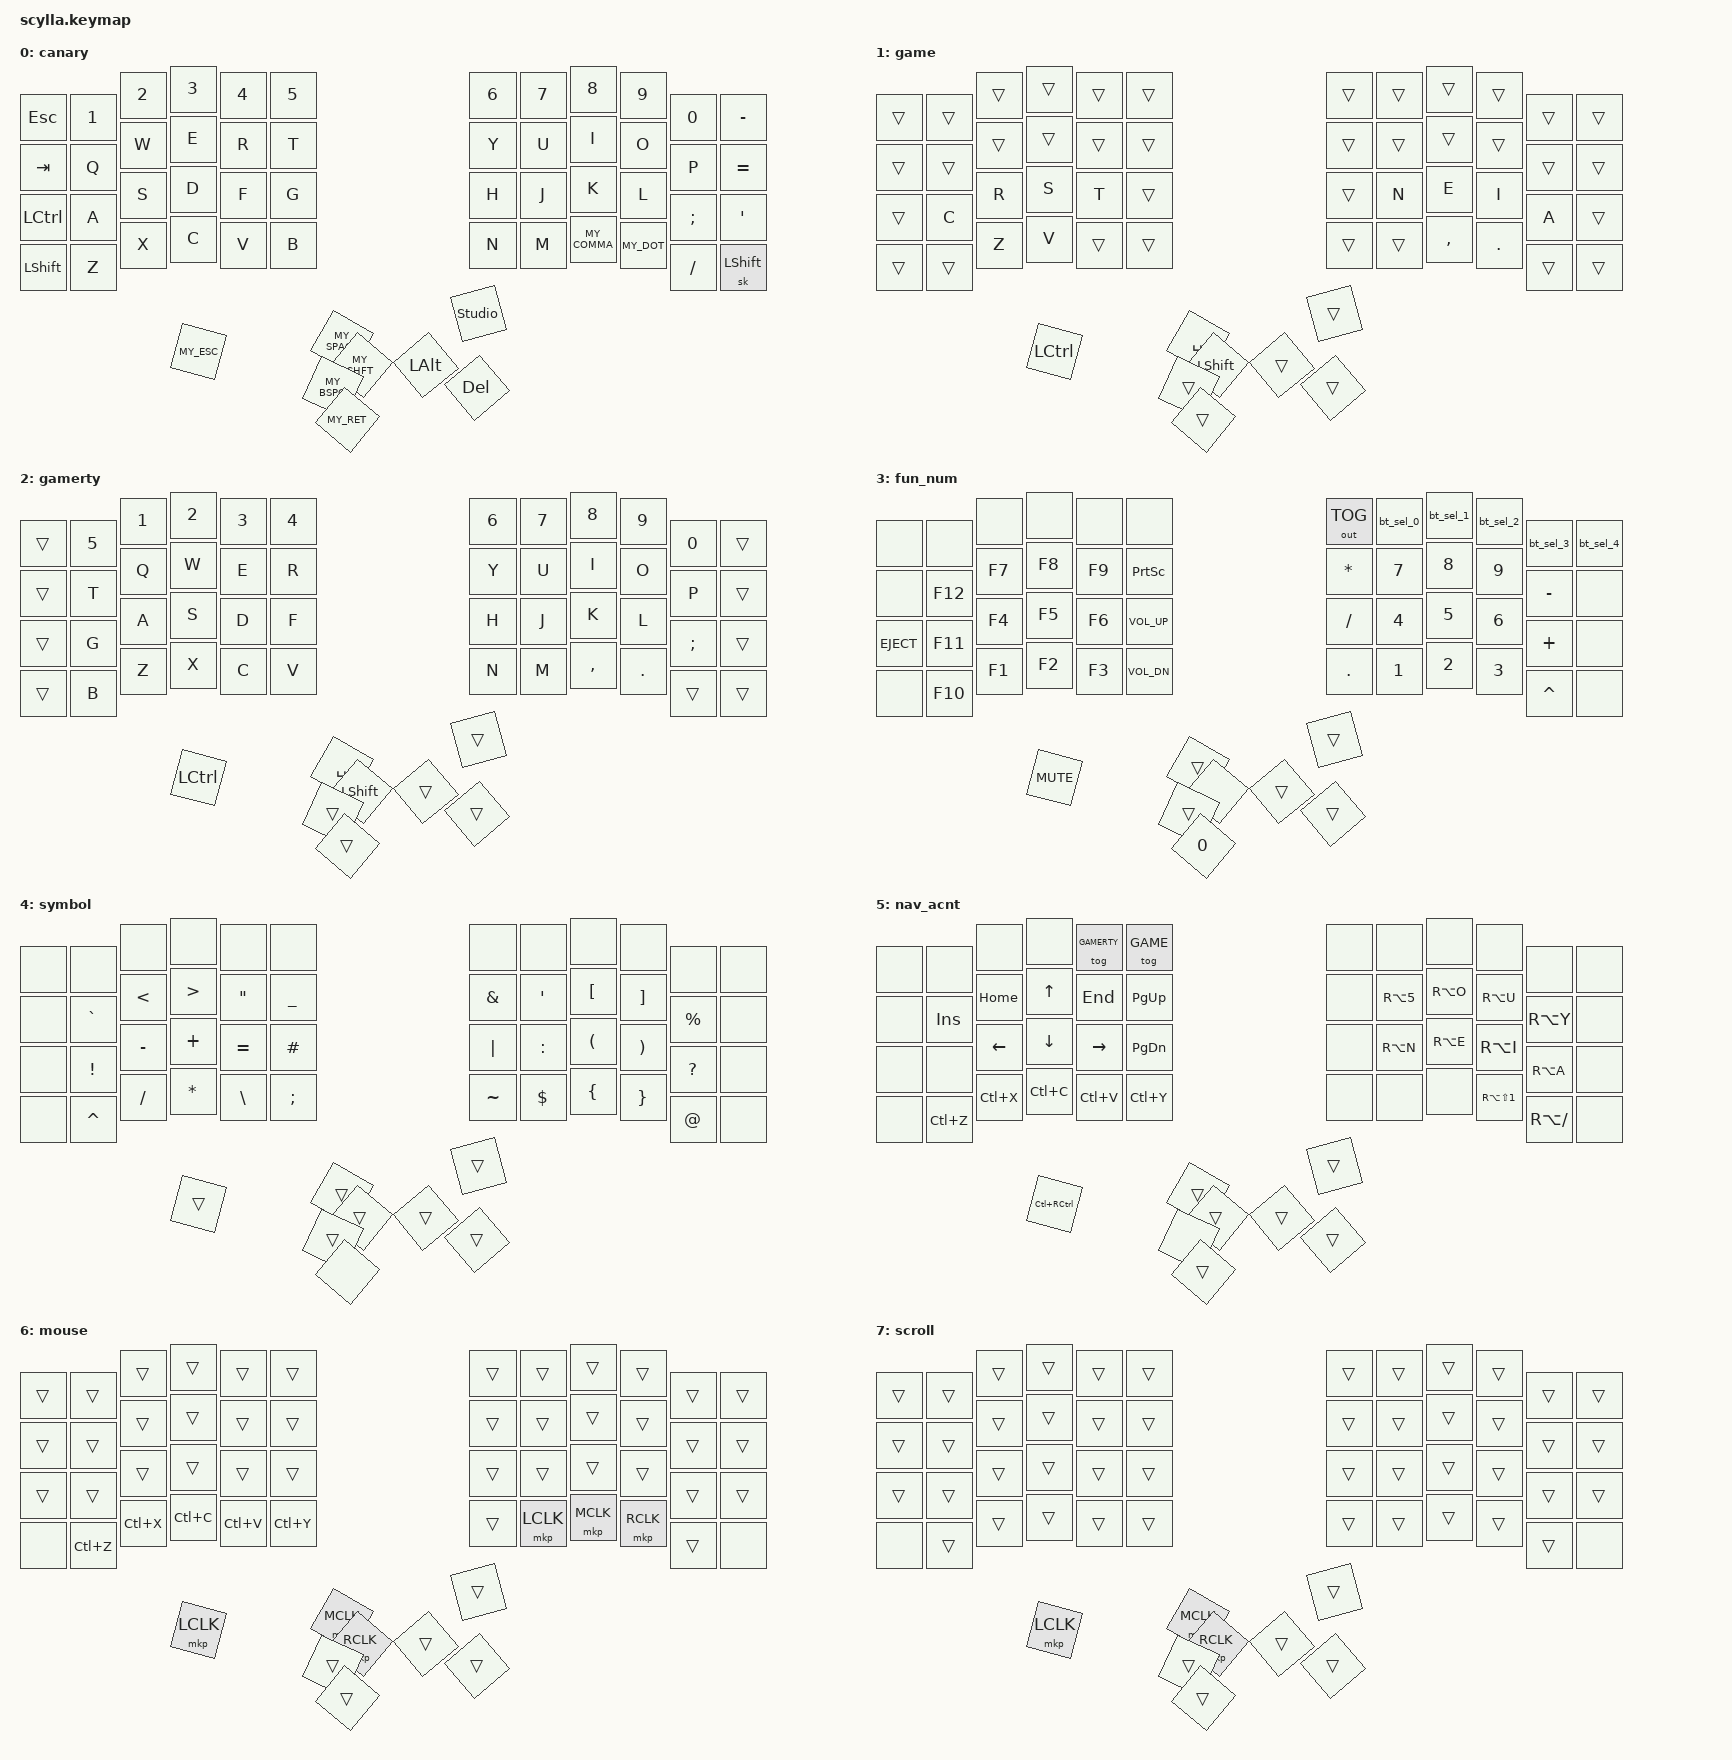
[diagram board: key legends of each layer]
#include "helper.h"
#include <behaviors.dtsi>
#include <behaviors/mouse_key_press.dtsi>
#include <dt-bindings/zmk/keys.h>
#include <dt-bindings/zmk/bt.h>
#include <dt-bindings/zmk/mouse.h>
#include <dt-bindings/zmk/outputs.h>
#include <physical_layouts.dtsi>
#include "layers.h"
#include "keypos.h"

// misc aliases
#define MY_RET        lt_hp NAV_ACNT RET
#define MY_BSPC       lt_hp SYMBOL BSPC
#define MY_ESC        lt_hp SYMBOL ESC
#define MY_SPACE      lt_pi FUN_NUM SPACE
#define MY_SHFT       sk LSHFT
#define MY_COMMA      lt SCROLL COMMA
#define MY_DOT        lt MOUSE DOT
#define MY_C          hml LALT C
#define MY_R          hml LSHFT R
#define MY_S          hml LCTRL S
#define MY_T          hml LGUI T
#define MY_N          hmr RGUI N
#define MY_E          hmr RCTRL E
#define MY_I          hmr RSHFT I
#define MY_A          hmr LALT A
//#define MY_G          lm FUN_NUM LGUI
//#define MY_M          lm NAV_ACNT LGUI
#define MY_G          hlml 0 G
#define MY_M          hlmr 0 M

&sk {  // sticky-key config
    quick-release;
};

&lt {  // layer-tap config
    flavor = "balanced";
    tapping-term-ms = <280>;
    quick-tap-ms = <175>;
};

&mt {  // mod-tap config
    flavor = "balanced";
    tapping-term-ms = <280>;
    quick-tap-ms = <175>;
};

ZMK_BEHAVIOR(hml, hold_tap,
    flavor = "balanced";
    tapping-term-ms = <280>;
    quick-tap-ms = <175>;
    require-prior-idle-ms = <125>;
    bindings = <&kp>, <&kp>;
    hold-trigger-key-positions = <KEYS_R THUMBS>;
    hold-trigger-on-release;
)
ZMK_BEHAVIOR(hmr, hold_tap,
    flavor = "balanced";
    tapping-term-ms = <280>;
    quick-tap-ms = <175>;
    require-prior-idle-ms = <125>;
    bindings = <&kp>, <&kp>;
    hold-trigger-key-positions = <KEYS_L THUMBS>;
    hold-trigger-on-release;
)
ZMK_BEHAVIOR(lt_pi, hold_tap,
    flavor = "balanced";
    tapping-term-ms = <280>;
    quick-tap-ms = <175>;
    require-prior-idle-ms = <125>;
    bindings = <&mo>, <&kp>;
)
ZMK_BEHAVIOR(lt_hp, hold_tap,
    flavor = "hold-preferred";
    tapping-term-ms = <280>;
    quick-tap-ms = <175>;
    bindings = <&mo>, <&kp>;
)

// Custom layer mod
ZMK_BEHAVIOR(lml, macro,
    wait-ms = <0>;
    tap-ms = <0>;
    bindings = <&macro_press &mo FUN_NUM>
        , <&macro_press &kp LGUI>
        , <&macro_pause_for_release>
        , <&macro_release &kp LGUI>
        , <&macro_release &mo FUN_NUM>
        ;
)
ZMK_BEHAVIOR(lmr, macro,
    wait-ms = <0>;
    tap-ms = <0>;
    bindings = <&macro_press &mo NAV_ACNT>
        , <&macro_press &kp RGUI>
        , <&macro_pause_for_release>
        , <&macro_release &kp RGUI>
        , <&macro_release &mo NAV_ACNT>
        ;
)
ZMK_BEHAVIOR(hlml, hold_tap,
    flavor = "balanced";
    tapping-term-ms = <280>;
    quick-tap-ms = <175>;
    require-prior-idle-ms = <125>;
    bindings = <&lml>, <&kp>;
    hold-trigger-key-positions = <KEYS_R THUMBS>;
    hold-trigger-on-release;
)
ZMK_BEHAVIOR(hlmr, hold_tap,
    flavor = "balanced";
    tapping-term-ms = <280>;
    quick-tap-ms = <175>;
    require-prior-idle-ms = <125>;
    bindings = <&lmr>, <&kp>;
    hold-trigger-key-positions = <KEYS_L THUMBS>;
    hold-trigger-on-release;
)

ZMK_COMBO(combo_bspc,     &kp BSPC,          RH0 RU0, ALL,  75)
ZMK_COMBO(combo_capsword, &caps_word,        LF2 RF2,   0,  75)
ZMK_COMBO(combo_caps,     &kp CAPSLOCK,      LB5 RB5,   0,  75)
ZMK_COMBO(combo_bootload, &bootloader,       RF2 RT2,   0, 150, 125)
ZMK_COMBO(combo_reset,    &sys_reset,        RF3 RT3,   0, 150, 125)
ZMK_COMBO(combo_mb1,      &mkp MB1,          RF1 RF2,   0, 150, 125)
ZMK_COMBO(combo_mb2,      &mkp MB2,          RF2 RF3,   0, 150, 125)
ZMK_COMBO(combo_mb3,      &mkp MB3,      RF1 RF2 RF3,   0, 150, 125)

ZMK_SHIFT_MACRO(bt_sel_0, &bt BT_SEL 0, &bt BT_SEL 0 &bt BT_CLR)
ZMK_SHIFT_MACRO(bt_sel_1, &bt BT_SEL 1, &bt BT_SEL 1 &bt BT_CLR)
ZMK_SHIFT_MACRO(bt_sel_2, &bt BT_SEL 2, &bt BT_SEL 2 &bt BT_CLR)
ZMK_SHIFT_MACRO(bt_sel_3, &bt BT_SEL 3, &bt BT_SEL 3 &bt BT_CLR)
ZMK_SHIFT_MACRO(bt_sel_4, &bt BT_SEL 4, &bt BT_SEL 4 &bt BT_CLR)

/* Keymap */

ZMK_LAYER(canary,
// ╭───────────────────────────────────────────────────────────────────────────────╮ ╭───────────────────────────────────────────────────────────────────────────────╮
          &kp ESC       &kp N1       &kp N2       &kp N3       &kp N4       &kp N5           &kp N6       &kp N7       &kp N8       &kp N9       &kp N0    &kp MINUS
// ├───────────────────────────────────────────────────────────────────────────────┤ ├───────────────────────────────────────────────────────────────────────────────┤
          &kp TAB        &kp Q        &kp W        &kp E        &kp R        &kp T            &kp Y        &kp U        &kp I        &kp O        &kp P    &kp EQUAL
// ├───────────────────────────────────────────────────────────────────────────────┤ ├───────────────────────────────────────────────────────────────────────────────┤
        &kp LCTRL        &kp A        &kp S        &kp D        &kp F        &kp G            &kp H        &kp J        &kp K        &kp L     &kp SEMI     &kp APOS
// ├───────────────────────────────────────────────────────────────────────────────┤ ├───────────────────────────────────────────────────────────────────────────────┤
        &kp LSHFT        &kp Z        &kp X        &kp C        &kp V        &kp B            &kp N        &kp M    &MY_COMMA      &MY_DOT     &kp FSLH    &sk LSHFT
// ╰───────────────────────────────────────────────────────────────────────────────┤ ├───────────────────────────────────────────────────────────────────────────────╯
                                                 &MY_ESC    &MY_SPACE     &MY_SHFT         &MY_BSPC      &MY_RET
                                                            &kp LALT &studio_unlock         &kp DEL
//                                        ╰────────────────────────────────────────╯ ╰───────────────────────────╯
)

ZMK_LAYER(game,
// ╭───────────────────────────────────────────────────────────────────────────────╮ ╭───────────────────────────────────────────────────────────────────────────────╮
           &trans       &trans       &trans       &trans       &trans       &trans           &trans       &trans       &trans       &trans       &trans       &trans
// ├───────────────────────────────────────────────────────────────────────────────┤ ├───────────────────────────────────────────────────────────────────────────────┤
           &trans       &trans       &trans       &trans       &trans       &trans           &trans       &trans       &trans       &trans       &trans       &trans
// ├───────────────────────────────────────────────────────────────────────────────┤ ├───────────────────────────────────────────────────────────────────────────────┤
           &trans        &kp C        &kp R        &kp S        &kp T       &trans           &trans        &kp N        &kp E        &kp I        &kp A       &trans
// ├───────────────────────────────────────────────────────────────────────────────┤ ├───────────────────────────────────────────────────────────────────────────────┤
           &trans       &trans        &kp Z        &kp V       &trans       &trans           &trans       &trans    &kp COMMA      &kp DOT       &trans       &trans
// ╰───────────────────────────────────────────────────────────────────────────────┤ ├───────────────────────────────────────────────────────────────────────────────╯
                                               &kp LCTRL    &kp SPACE    &kp LSHFT           &trans       &trans
                                                               &trans       &trans           &trans
//                                        ╰────────────────────────────────────────╯ ╰───────────────────────────╯
)

ZMK_LAYER(gamerty,
// ╭───────────────────────────────────────────────────────────────────────────────╮ ╭───────────────────────────────────────────────────────────────────────────────╮
           &trans       &kp N5       &kp N1       &kp N2       &kp N3       &kp N4           &kp N6       &kp N7       &kp N8       &kp N9       &kp N0       &trans
// ├───────────────────────────────────────────────────────────────────────────────┤ ├───────────────────────────────────────────────────────────────────────────────┤
           &trans        &kp T        &kp Q        &kp W        &kp E        &kp R            &kp Y        &kp U        &kp I        &kp O        &kp P       &trans
// ├───────────────────────────────────────────────────────────────────────────────┤ ├───────────────────────────────────────────────────────────────────────────────┤
           &trans        &kp G        &kp A        &kp S        &kp D        &kp F            &kp H        &kp J        &kp K        &kp L     &kp SEMI       &trans
// ├───────────────────────────────────────────────────────────────────────────────┤ ├───────────────────────────────────────────────────────────────────────────────┤
           &trans        &kp B        &kp Z        &kp X        &kp C        &kp V            &kp N        &kp M    &kp COMMA      &kp DOT       &trans       &trans
// ╰───────────────────────────────────────────────────────────────────────────────┤ ├───────────────────────────────────────────────────────────────────────────────╯
                                               &kp LCTRL    &kp SPACE    &kp LSHFT           &trans       &trans
                                                               &trans       &trans           &trans
//                                        ╰────────────────────────────────────────╯ ╰───────────────────────────╯
)

ZMK_LAYER(fun_num,
// ╭───────────────────────────────────────────────────────────────────────────────╮ ╭───────────────────────────────────────────────────────────────────────────────╮
            &none        &none        &none        &none        &none        &none     &out OUT_TOG    &bt_sel_0    &bt_sel_1    &bt_sel_2    &bt_sel_3    &bt_sel_4
// ├───────────────────────────────────────────────────────────────────────────────┤ ├───────────────────────────────────────────────────────────────────────────────┤
            &none      &kp F12       &kp F7       &kp F8       &kp F9    &kp PSCRN        &kp ASTRK       &kp N7       &kp N8       &kp N9    &kp MINUS        &none
// ├───────────────────────────────────────────────────────────────────────────────┤ ├───────────────────────────────────────────────────────────────────────────────┤
      &kp C_EJECT      &kp F11       &kp F4       &kp F5       &kp F6 &kp C_VOL_UP         &kp FSLH       &kp N4       &kp N5       &kp N6     &kp PLUS        &none
// ├───────────────────────────────────────────────────────────────────────────────┤ ├───────────────────────────────────────────────────────────────────────────────┤
          &none      &kp F10       &kp F1       &kp F2       &kp F3 &kp C_VOL_DN          &kp DOT       &kp N1       &kp N2       &kp N3    &kp CARET      &none
// ╰───────────────────────────────────────────────────────────────────────────────┤ ├───────────────────────────────────────────────────────────────────────────────╯
                                              &kp C_MUTE       &trans        &none           &trans       &kp N0
                                                               &trans       &trans           &trans
//                                        ╰────────────────────────────────────────╯ ╰───────────────────────────╯
)

ZMK_LAYER(symbol,
// ╭───────────────────────────────────────────────────────────────────────────────╮ ╭───────────────────────────────────────────────────────────────────────────────╮
            &none        &none        &none        &none        &none        &none            &none        &none        &none        &none        &none        &none
// ├───────────────────────────────────────────────────────────────────────────────┤ ├───────────────────────────────────────────────────────────────────────────────┤
            &none    &kp GRAVE       &kp LT       &kp GT      &kp DQT    &kp UNDER         &kp AMPS     &kp APOS     &kp LBKT     &kp RBKT    &kp PRCNT        &none
// ├───────────────────────────────────────────────────────────────────────────────┤ ├───────────────────────────────────────────────────────────────────────────────┤
            &none     &kp EXCL    &kp MINUS     &kp PLUS    &kp EQUAL     &kp HASH         &kp PIPE    &kp COLON     &kp LPAR     &kp RPAR    &kp QMARK        &none
// ├───────────────────────────────────────────────────────────────────────────────┤ ├───────────────────────────────────────────────────────────────────────────────┤
            &none    &kp CARET     &kp FSLH    &kp ASTRK     &kp BSLH     &kp SEMI        &kp TILDE   &kp DOLLAR     &kp LBRC     &kp RBRC       &kp AT        &none
// ╰───────────────────────────────────────────────────────────────────────────────┤ ├───────────────────────────────────────────────────────────────────────────────╯
                                                  &trans       &trans       &trans           &trans        &none
                                                               &trans       &trans           &trans
//                                        ╰────────────────────────────────────────╯ ╰───────────────────────────╯
)

ZMK_LAYER(nav_acnt,
// ╭───────────────────────────────────────────────────────────────────────────────╮ ╭───────────────────────────────────────────────────────────────────────────────╮
            &none        &none        &none        &none &tog GAMERTY    &tog GAME            &none        &none        &none        &none        &none        &none
// ├───────────────────────────────────────────────────────────────────────────────┤ ├───────────────────────────────────────────────────────────────────────────────┤
            &none      &kp INS     &kp HOME       &kp UP      &kp END    &kp PG_UP            &none   &kp RA(N5)    &kp RA(O)    &kp RA(U)    &kp RA(Y)        &none
// ├───────────────────────────────────────────────────────────────────────────────┤ ├───────────────────────────────────────────────────────────────────────────────┤
            &none        &none     &kp LEFT     &kp DOWN    &kp RIGHT    &kp PG_DN            &none    &kp RA(N)    &kp RA(E)    &kp RA(I)    &kp RA(A)        &none
// ├───────────────────────────────────────────────────────────────────────────────┤ ├───────────────────────────────────────────────────────────────────────────────┤
          &none    &kp LC(Z)    &kp LC(X)    &kp LC(C)    &kp LC(V)    &kp LC(Y)            &none        &none      &none &kp RA(LS(N1)) &kp RA(FSLH)      &none
// ╰───────────────────────────────────────────────────────────────────────────────┤ ├───────────────────────────────────────────────────────────────────────────────╯
                                           &kp LC(RCTRL)       &trans       &trans            &none       &trans
                                                               &trans       &trans           &trans
//                                        ╰────────────────────────────────────────╯ ╰───────────────────────────╯
)

ZMK_LAYER(mouse,
// ╭───────────────────────────────────────────────────────────────────────────────╮ ╭───────────────────────────────────────────────────────────────────────────────╮
           &trans       &trans       &trans       &trans       &trans       &trans           &trans       &trans       &trans       &trans       &trans       &trans
// ├───────────────────────────────────────────────────────────────────────────────┤ ├───────────────────────────────────────────────────────────────────────────────┤
           &trans       &trans       &trans       &trans       &trans       &trans           &trans       &trans       &trans       &trans       &trans       &trans
// ├───────────────────────────────────────────────────────────────────────────────┤ ├───────────────────────────────────────────────────────────────────────────────┤
           &trans       &trans       &trans       &trans       &trans       &trans           &trans       &trans       &trans       &trans       &trans       &trans
// ├───────────────────────────────────────────────────────────────────────────────┤ ├───────────────────────────────────────────────────────────────────────────────┤
          &none    &kp LC(Z)    &kp LC(X)    &kp LC(C)    &kp LC(V)    &kp LC(Y)           &trans   &mkp LCLK     &mkp MCLK    &mkp RCLK       &trans      &none
// ╰───────────────────────────────────────────────────────────────────────────────┤ ├───────────────────────────────────────────────────────────────────────────────╯
                                               &mkp LCLK    &mkp MCLK    &mkp RCLK           &trans       &trans
                                                               &trans       &trans           &trans
//                                        ╰────────────────────────────────────────╯ ╰───────────────────────────╯
)

ZMK_LAYER(scroll,
// ╭───────────────────────────────────────────────────────────────────────────────╮ ╭───────────────────────────────────────────────────────────────────────────────╮
           &trans       &trans       &trans       &trans       &trans       &trans           &trans       &trans       &trans       &trans       &trans       &trans
// ├───────────────────────────────────────────────────────────────────────────────┤ ├───────────────────────────────────────────────────────────────────────────────┤
           &trans       &trans       &trans       &trans       &trans       &trans           &trans       &trans       &trans       &trans       &trans       &trans
// ├───────────────────────────────────────────────────────────────────────────────┤ ├───────────────────────────────────────────────────────────────────────────────┤
           &trans       &trans       &trans       &trans       &trans       &trans           &trans       &trans       &trans       &trans       &trans       &trans
// ├───────────────────────────────────────────────────────────────────────────────┤ ├───────────────────────────────────────────────────────────────────────────────┤
          &none       &trans       &trans       &trans       &trans       &trans           &trans       &trans       &trans       &trans       &trans      &none
// ╰───────────────────────────────────────────────────────────────────────────────┤ ├───────────────────────────────────────────────────────────────────────────────╯
                                               &mkp LCLK    &mkp MCLK    &mkp RCLK           &trans       &trans
                                                               &trans       &trans           &trans
//                                        ╰────────────────────────────────────────╯ ╰───────────────────────────╯
)

